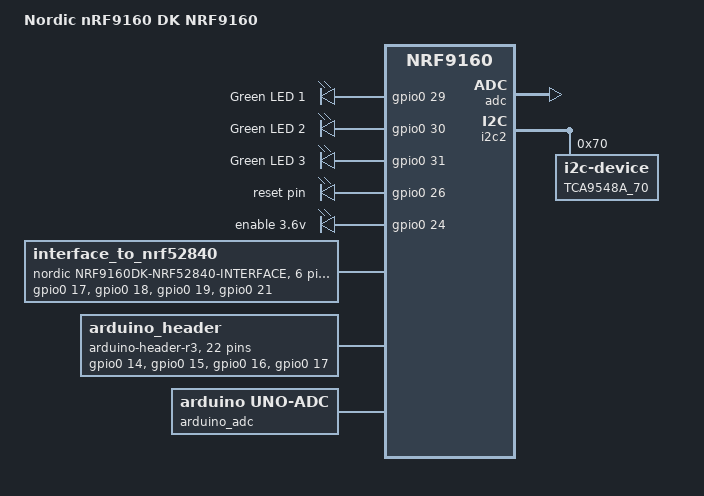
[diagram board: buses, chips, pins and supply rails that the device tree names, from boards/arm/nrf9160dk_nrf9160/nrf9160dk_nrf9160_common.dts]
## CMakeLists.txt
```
#
# Copyright (c) 2020 Nordic Semiconductor
#
# SPDX-License-Identifier: LicenseRef-Nordic-5-Clause
#

cmake_minimum_required(VERSION 3.20.0)

find_package(Zephyr REQUIRED HINTS $ENV{ZEPHYR_BASE})
project(aws_iot)

# NORDIC SDK APP START
target_sources(app PRIVATE src/main.c)
target_sources(app PRIVATE src/sensor.c)
# NORDIC SDK APP END

zephyr_include_directories(src)

# Make folder containing certificates global so that it can be located by
# the AWS IoT library.
zephyr_include_directories_ifdef(CONFIG_AWS_IOT_PROVISION_CERTIFICATES certs)
```

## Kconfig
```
#
# Copyright (c) 2020 Nordic Semiconductor ASA
#
# SPDX-License-Identifier: LicenseRef-Nordic-5-Clause
#

menu "AWS IoT Sample Settings"

config AWS_IOT_SAMPLE_APP_VERSION
	string "Application version"
	default "v1.0.0"

config AWS_IOT_SAMPLE_PUBLICATION_INTERVAL_SECONDS
	int "Interval in seconds that the sample will publish data"
	default 10

config AWS_IOT_SAMPLE_CONNECTION_RETRY_TIMEOUT_SECONDS
	int "Number of seconds between each AWS IoT connection retry"
	default 30

config AWS_IOT_SAMPLE_DEVICE_ID_USE_HW_ID
	bool "Use HW ID as device ID"
	select HW_ID_LIBRARY
	help
	  Use the devices's hardware ID as device ID when connecting to AWS IOT
config FIRMWARE_VERSION
	string "firmware version"
	default "1.0"
config HARDWARE_VERSION
	string "hardwware version"
	default ""
module = AWS_IOT_SAMPLE
module-str = AWS IoT sample
source "${ZEPHYR_BASE}/subsys/logging/Kconfig.template.log_config"

endmenu

menu "Zephyr Kernel"
source "Kconfig.zephyr"
endmenu
```

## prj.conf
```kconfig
#
# Copyright (c) 2020 Nordic Semiconductor ASA
#
# SPDX-License-Identifier: LicenseRef-Nordic-5-Clause
#
# General config
CONFIG_NCS_SAMPLES_DEFAULTS=y
CONFIG_REBOOT=y

# NEWLIB C
CONFIG_NEWLIB_LIBC=y
CONFIG_NEWLIB_LIBC_FLOAT_PRINTF=y

# Log
CONFIG_LOG=y
CONFIG_AWS_IOT_SAMPLE_LOG_LEVEL_INF=y

CONFIG_CBPRINTF_FP_SUPPORT=y

# Console
CONFIG_LOG=y
CONFIG_LOG_PRINTK=y
CONFIG_PRINTK=y
CONFIG_RTT_CONSOLE=y
CONFIG_USE_SEGGER_RTT=y
CONFIG_UART_CONSOLE=n

# Network
CONFIG_NETWORKING=y
CONFIG_NET_NATIVE=n

# LTE link control
CONFIG_LTE_LINK_CONTROL=y
CONFIG_LTE_NETWORK_MODE_LTE_M=y

CONFIG_LTE_NETWORK_MODE_NBIOT=n
#CONFIG_LTE_NETWORK_MODE_NBIOT_GPS=y

# Modem library
CONFIG_NRF_MODEM_LIB=y

# AT Host
CONFIG_UART_INTERRUPT_DRIVEN=n
CONFIG_AT_HOST_LIBRARY=n

# AWS IoT library
CONFIG_AWS_IOT=y
CONFIG_AWS_IOT_CLIENT_ID_STATIC="stephen_nrf9160_dk"
CONFIG_AWS_IOT_BROKER_HOST_NAME="a1jhkkp8wrh8gd-ats.iot.us-west-2.amazonaws.com"
CONFIG_AWS_IOT_SEC_TAG=6969
CONFIG_AWS_IOT_APP_SUBSCRIPTION_LIST_COUNT=2
CONFIG_AWS_IOT_TOPIC_UPDATE_DELTA_SUBSCRIBE=y
CONFIG_AWS_IOT_LAST_WILL=y
CONFIG_AWS_IOT_TOPIC_GET_ACCEPTED_SUBSCRIBE=y
CONFIG_AWS_IOT_TOPIC_GET_REJECTED_SUBSCRIBE=y

CONFIG_HARDWARE_VERSION="v2x8-i2c"
CONFIG_FIRMWARE_VERSION="1.0"

# MQTT - Maximum MQTT keepalive timeout specified by AWS IoT Core
CONFIG_MQTT_KEEPALIVE=1200

# Date Time library
CONFIG_DATE_TIME=y

# Modem information
CONFIG_MODEM_INFO=y

# Heap and stacks
CONFIG_HEAP_MEM_POOL_SIZE=8192
CONFIG_MAIN_STACK_SIZE=4096
CONFIG_SYSTEM_WORKQUEUE_STACK_SIZE=2048

# MCUBOOT
CONFIG_BOOTLOADER_MCUBOOT=y
CONFIG_MCUBOOT_IMG_MANAGER=y

# Image manager
CONFIG_IMG_MANAGER=y
CONFIG_STREAM_FLASH=y
CONFIG_FLASH_MAP=y
CONFIG_FLASH=y
CONFIG_IMG_ERASE_PROGRESSIVELY=y

# AWS FOTA
CONFIG_AWS_FOTA=y
CONFIG_FOTA_DOWNLOAD=y
CONFIG_DFU_TARGET=y

# CJSON
CONFIG_CJSON_LIB=y

# Download client (needed by AWS FOTA)
CONFIG_DOWNLOAD_CLIENT=y
CONFIG_DOWNLOAD_CLIENT_STACK_SIZE=4096

CONFIG_I2C=y
#CONFIG_SENSOR=y
```

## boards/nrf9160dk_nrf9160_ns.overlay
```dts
/*
 * Copyright (c) 2020, Nordic Semiconductor ASA
 *
 * SPDX-License-Identifier: Apache-2.0
 */

 arduino_i2c: &i2c2 {
	compatible = "nordic,nrf-twim";
	status = "okay";
	pinctrl-0 = <&i2c2_default>;
	pinctrl-1 = <&i2c2_sleep>;
	pinctrl-names = "default", "sleep";
	tca9548a_70: tca9548a@70 {
		compatible = "i2c-device";
		status = "okay";
		reg = <0x70>;
		label = "TCA9548A_70";
	};
};
```

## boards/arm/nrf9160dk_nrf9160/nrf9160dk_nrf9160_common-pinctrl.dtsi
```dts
/*
 * Copyright (c) 2022 Nordic Semiconductor
 * SPDX-License-Identifier: Apache-2.0
 */

&pinctrl {
	i2c2_default: i2c2_default {
		group1 {
			psels = <NRF_PSEL(TWIM_SDA, 0, 1)>,
				<NRF_PSEL(TWIM_SCL, 0, 2)>;
		};
	};

	i2c2_sleep: i2c2_sleep {
		group1 {
			psels = <NRF_PSEL(TWIM_SDA, 0, 1)>,
				<NRF_PSEL(TWIM_SCL, 0, 2)>;
			low-power-enable;
		};
	};

};
```

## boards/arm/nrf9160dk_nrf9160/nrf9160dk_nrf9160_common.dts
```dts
/*
 * Copyright (c) 2018-2020 Nordic Semiconductor ASA
 *
 * SPDX-License-Identifier: Apache-2.0
 */
#include "nrf9160dk_nrf9160_common-pinctrl.dtsi"

/ {
	model = "Nordic nRF9160 DK NRF9160";
	compatible = "nordic,nrf9160-dk-nrf9160";

	chosen {
		zephyr,console = &uart0;
		zephyr,shell-uart = &uart0;
		zephyr,uart-mcumgr = &uart0;
	};

	leds {
		compatible = "gpio-leds";
		led0: led_0 {
			gpios = <&gpio0 29 0>;
			label = "Green LED 1";
		};
		led1: led_1 {
			gpios = <&gpio0 30 0>;
			label = "Green LED 2";
		};
		led2: led_2 {
			gpios = <&gpio0 31 0>;
			label = "Green LED 3";
		};
		rst: rst_pin {
			gpios = <&gpio0 26 0>;
			label = "reset pin";
		};
		enable3v6: enable_3v6_pin {
			gpios = <&gpio0 24 0>;
			label = "enable 3.6v";
		};
	};


	interface_to_nrf52840: gpio-interface {
		compatible = "nordic,nrf9160dk-nrf52840-interface";
		#gpio-cells = <2>;
		gpio-map-mask = <0xf 0>;
		gpio-map-pass-thru = <0 0xffffffff>;
		gpio-map = <0 0 &gpio0 17 0>,
			   <1 0 &gpio0 18 0>,
			   <2 0 &gpio0 19 0>,
			   <3 0 &gpio0 21 0>,
			   <4 0 &gpio0 22 0>,
			   <5 0 &gpio0 23 0>;
			   /* 6: COEX0 */
			   /* 7: COEX1 */
			   /* 8: COEX2 */
	};

	nrf52840_reset: gpio-reset {
		compatible = "nordic,nrf9160dk-nrf52840-reset";
		status = "disabled";
		/*
		 * This line is specified as active high for compatibility
		 * with the previously used Kconfig-based configuration.
		 */
		gpios = <&interface_to_nrf52840 5 GPIO_ACTIVE_HIGH>;
	};

	arduino_header: connector {
		compatible = "arduino-header-r3";
		#gpio-cells = <2>;
		gpio-map-mask = <0xffffffff 0xffffffc0>;
		gpio-map-pass-thru = <0 0x3f>;
		gpio-map = <0 0 &gpio0 14 0>,	/* A0 */
			   <1 0 &gpio0 15 0>,	/* A1 */
			   <2 0 &gpio0 16 0>,	/* A2 */
			   <3 0 &gpio0 17 0>,	/* A3 */
			   <4 0 &gpio0 18 0>,	/* A4 */
			   <5 0 &gpio0 19 0>,	/* A5 */
			   <6 0 &gpio0 0 0>,	/* D0 */
			   <7 0 &gpio0 1 0>,	/* D1 */
			   <8 0 &gpio0 2 0>,	/* D2 */
			   <9 0 &gpio0 3 0>,	/* D3 */
			   <10 0 &gpio0 4 0>,	/* D4 */
			   <11 0 &gpio0 5 0>,	/* D5 */
			   <12 0 &gpio0 6 0>,	/* D6 */
			   <13 0 &gpio0 7 0>,	/* D7 */
			   <14 0 &gpio0 8 0>,	/* D8 */
			   <15 0 &gpio0 9 0>,	/* D9 */
			   <16 0 &gpio0 10 0>,	/* D10 */
			   <17 0 &gpio0 11 0>,	/* D11 */
			   <18 0 &gpio0 12 0>,	/* D12 */
			   <19 0 &gpio0 13 0>,	/* D13 */
			   <20 0 &gpio0 30 0>,	/* D14 */
			   <21 0 &gpio0 31 0>;	/* D15 */
	};

	arduino_adc: analog-connector {
		compatible = "arduino,uno-adc";
		#io-channel-cells = <1>;
		io-channel-map = <0 &adc 1>,	/* A0 = P0.14 = AIN1 */
				 <1 &adc 2>,	/* A1 = P0.15 = AIN2 */
				 <2 &adc 3>,	/* A2 = P0.16 = AIN3 */
				 <3 &adc 4>,	/* A3 = P0.17 = AIN4 */
				 <4 &adc 5>,	/* A4 = P0.18 = AIN5 */
				 <5 &adc 6>;	/* A5 = P0.19 = AIN6 */
	};

	/* These aliases are provided for compatibility with samples */
	aliases {
		led0 = &led0;
		led1 = &led1;
		led2 = &led2;
		rstpin = &rst;
		enable3v6 = &enable3v6;
		bootloader-led0 = &led0;
		mcuboot-led0 = &led0;
		watchdog0 = &wdt0;
	};
};

&adc {
	status = "okay";
};

&gpiote {
	status = "okay";
};

&gpio0 {
	status = "okay";
};


arduino_i2c: &i2c2 {
	compatible = "nordic,nrf-twim";
	status = "okay";
	pinctrl-0 = <&i2c2_default>;
	pinctrl-1 = <&i2c2_sleep>;
	pinctrl-names = "default", "sleep";
	tca9548a_70: tca9548a@70 {
		compatible = "i2c-device";
		status = "okay";
		reg = <0x70>;
		label = "TCA9548A_70";
	};
};

&flash0 {

	partitions {
		compatible = "fixed-partitions";
		#address-cells = <1>;
		#size-cells = <1>;

		boot_partition: partition@0 {
			label = "mcuboot";
			reg = <0x00000000 0x10000>;
		};
		slot0_partition: partition@10000 {
			label = "image-0";
		};
		slot0_ns_partition: partition@50000 {
			label = "image-0-nonsecure";
		};
		slot1_partition: partition@80000 {
			label = "image-1";
		};
		slot1_ns_partition: partition@c0000 {
			label = "image-1-nonsecure";
		};
		/* 0xf0000 to 0xf7fff reserved for TF-M partitions */
		storage_partition: partition@f8000 {
			label = "storage";
			reg = <0x000f8000 0x00008000>;
		};
	};
};

/ {

	reserved-memory {
		#address-cells = <1>;
		#size-cells = <1>;
		ranges;

		sram0_s: image_s@20000000 {
			/* Secure image memory */
		};

		sram0_modem: image_modem@20016000 {
			/* Modem (shared) memory */
		};

		sram0_ns: image_ns@20020000 {
			/* Non-Secure image memory */
		};
	};
};

/* Include partition configuration file */
#include "nrf9160dk_nrf9160_partition_conf.dts"
```

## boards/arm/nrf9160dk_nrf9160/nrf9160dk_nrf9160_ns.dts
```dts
/*
 * Copyright (c) 2018-2020 Nordic Semiconductor ASA
 *
 * SPDX-License-Identifier: Apache-2.0
 */

/dts-v1/;
#include <nordic/nrf9160ns_sica.dtsi>
#include "nrf9160dk_nrf9160_common.dts"

/ {
	chosen {
		zephyr,flash = &flash0;
		zephyr,sram = &sram0_ns;
		zephyr,code-partition = &slot0_ns_partition;
	};
};

/* Disable UART1, because it is used by default in TF-M */
&uart1 {
	status = "disabled";
};
```

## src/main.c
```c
/*
 * Copyright (c) 2020 Nordic Semiconductor ASA
 *
 * SPDX-License-Identifier: LicenseRef-Nordic-5-Clause
 */

#include <zephyr/kernel.h>
#include <stdio.h>
#include <stdlib.h>
#if defined(CONFIG_NRF_MODEM_LIB)
#include <modem/lte_lc.h>
#include <modem/nrf_modem_lib.h>
#include <modem/modem_info.h>
#include <nrf_modem.h>
#endif
#include <net/aws_iot.h>
#include <zephyr/sys/reboot.h>
#include <date_time.h>
#include <zephyr/dfu/mcuboot.h>
#include <cJSON.h>
#include <cJSON_os.h>
#include <zephyr/logging/log.h>
#include <zephyr/drivers/gpio.h>

#if defined(CONFIG_AWS_IOT_SAMPLE_DEVICE_ID_USE_HW_ID)
#include <hw_id.h>
#endif

#include "sensor.h"

#define I2C_RST			DT_ALIAS(rstpin)
#define ENABLE_3V6 		DT_ALIAS(enable3v6)

#define SENSOR_SAMPLE_INTERVAL_MS		3000
LOG_MODULE_REGISTER(aws_iot_sample, CONFIG_AWS_IOT_SAMPLE_LOG_LEVEL);

BUILD_ASSERT(!IS_ENABLED(CONFIG_LTE_AUTO_INIT_AND_CONNECT),
	     "This sample does not support LTE auto-init and connect");

#define APP_TOPICS_COUNT CONFIG_AWS_IOT_APP_SUBSCRIPTION_LIST_COUNT
#define SEND_TOPIC	"cagewatch/v1/ingestion"

static struct k_work_delayable publish_work;
static struct k_work_delayable connect_work;
static struct k_work shadow_update_version_work;

static bool cloud_connected;

static K_SEM_DEFINE(lte_connected, 0, 1);
static K_SEM_DEFINE(date_time_obtained, 0, 1);

static const struct i2c_dt_spec	tca9548a = I2C_DT_SPEC_GET( DT_NODELABEL( tca9548a_70 ) );
static const struct gpio_dt_spec i2c_rst_dt = GPIO_DT_SPEC_GET(I2C_RST, gpios);
static const struct gpio_dt_spec enable_3v6_dt = GPIO_DT_SPEC_GET(ENABLE_3V6, gpios);

static float lux[8] = {0.0};
static int range[8] = {0};
static uint8_t channel_mask = 0x00;

void sensors_init(void)
{
	uint8_t ch, ret;

	if (!gpio_is_ready_dt(&i2c_rst_dt)) {
		return 0;
	}

	ret = gpio_pin_configure_dt(&i2c_rst_dt, GPIO_OUTPUT_HIGH);
	if (ret < 0) {
		return 0;
	}

	ret = gpio_pin_configure_dt(&enable_3v6_dt, GPIO_OUTPUT_HIGH);
	if (ret < 0) {
		return 0;
	}


	check_i2c_device(&tca9548a);

	channel_mask = 0x00;

	for (ch=0; ch<8; ch++){
		if(tca9548a_set_channel(&tca9548a, ch) == 0){
			LOG_INF("Channel %d is set\n", ch);
			
			if (vl6180_read8(&tca9548a, VL6180X_REG_IDENTIFICATION_MODEL_ID) != 0xB4){
				LOG_ERR("Vl6180 sensor is failed in Channel %d\n", ch);
				range[ch] = -1;
			}
			else{
				if(vl6180_read8(&tca9548a, VL6180X_REG_SYSTEM_FRESH_OUT_OF_RESET) & 0x01){
					loadSettings(&tca9548a);
		 			vl6180_write8( &tca9548a, VL6180X_REG_SYSTEM_FRESH_OUT_OF_RESET, 0x00);
				}

        		channel_mask |= (1 << ch);
				LOG_INF("Vl6180 sensor in Channel %d was initiated successfully\n", ch);
			}

		}
		else{
			LOG_ERR("Channel %d is failed\n", ch);
			range[ch] = -1;
		}
	}
}

void check_sensors(void)
{
	uint8_t ch;
	uint8_t pre_channel_mask;

	check_i2c_device(&tca9548a);

	pre_channel_mask = channel_mask;

	channel_mask = 0x00;

	for (ch=0; ch<8; ch++){
		if(tca9548a_set_channel(&tca9548a, ch) == 0){
			LOG_INF("Channel %d is set\n", ch);
			
			if (vl6180_read8(&tca9548a, VL6180X_REG_IDENTIFICATION_MODEL_ID) != 0xB4){
				LOG_ERR("Vl6180 sensor is failed in Channel %d\n", ch);
				range[ch] = -1;
			}
			else{
				if(((pre_channel_mask >> ch) & 0x01) == 0x00){
					if(vl6180_read8(&tca9548a, VL6180X_REG_SYSTEM_FRESH_OUT_OF_RESET) & 0x01){
						loadSettings(&tca9548a);
		 				vl6180_write8( &tca9548a, VL6180X_REG_SYSTEM_FRESH_OUT_OF_RESET, 0x00);
					}
				}
        		channel_mask |= (1 << ch);
				LOG_INF("Vl6180 sensor in Channel %d was initiated successfully\n", ch);
			}

		}
		else{
			LOG_ERR("Channel %d is failed\n", ch);
			range[ch] = -1;
		}
	}
}
static void sensor_measure_fn(void)
{
	uint8_t ch;

	if(channel_mask > 0){
		for (ch=0; ch<8; ch++){
			if(channel_mask & (1 << ch)){
    	    	tca9548a_set_channel(&tca9548a, ch);
				lux[ch] = vl6180_readLux(&tca9548a, VL6180X_ALS_GAIN_5);
				range[ch] = vl6180_readRange(&tca9548a);
				LOG_INF("Data in Channel %d: [lux:] %f, [range:] %d\n", ch, lux[ch], range[ch]);
			}
		}
	}
	else {
		LOG_ERR("Sensor channels are not finded");
	}
}

static int json_add_obj(cJSON *parent, const char *str, cJSON *item)
{
	cJSON_AddItemToObject(parent, str, item);

	return 0;
}

static int json_add_str(cJSON *parent, const char *str, const char *item)
{
	cJSON *json_str;

	json_str = cJSON_CreateString(item);
	if (json_str == NULL) {
		return -ENOMEM;
	}

	return json_add_obj(parent, str, json_str);
}

static int json_add_number(cJSON *parent, const char *str, double item)
{
	cJSON *json_num;

	json_num = cJSON_CreateNumber(item);
	if (json_num == NULL) {
		return -ENOMEM;
	}

	return json_add_obj(parent, str, json_num);
}
/*
	Send the data to the AWS IoT Backend
*/
static int publish_func(bool version_number_include)
{
	int err;
	char *message;
	int64_t message_ts = 0;
	int16_t bat_voltage = 0;
	char imei[16]; 
	int16_t rssi = 0;
	uint8_t ch = 0;

	err = date_time_now(&message_ts);
	if (err) {
		LOG_ERR("date_time_now, error: %d", err);
		return err;
	}

	check_sensors();

	sensor_measure_fn();

#if defined(CONFIG_NRF_MODEM_LIB)
	/* Request battery voltage data from the modem. */
	err = modem_info_short_get(MODEM_INFO_BATTERY, &bat_voltage);
	if (err != sizeof(bat_voltage)) {
		LOG_ERR("modem_info_short_get for battery voltage, error: %d", err);
		return err;
	}
	err = modem_info_string_get(MODEM_INFO_IMEI, imei, 16);
	if (err != (sizeof(imei) - 1)) {
		LOG_ERR("modem_info_string_get for IMEI, error: %d", err);
		return err;
	}
	err = modem_info_short_get(MODEM_INFO_RSRP, &rssi);
	if (err != sizeof(rssi)) {
		LOG_ERR("modem_info_short_get for RSSI, error: %d", err);
		return err;
	}

	rssi = (-140) + rssi; 
#endif

	cJSON *root_obj = cJSON_CreateObject();
	cJSON *data_obj = cJSON_CreateObject();
	

	if (root_obj == NULL || data_obj == NULL)
	{
		cJSON_Delete(data_obj);
		cJSON_Delete(root_obj);
		err = -ENOMEM;
		return err;
	}

	err = 0;

	err += json_add_str(root_obj, "imei", imei);
	err += json_add_str(root_obj, "firmware_version", CONFIG_FIRMWARE_VERSION);
	err += json_add_str(root_obj, "hardware_version", CONFIG_HARDWARE_VERSION);
	err += json_add_number(root_obj, "battery_voltage", bat_voltage);
	err += json_add_number(root_obj, "cellular_rssi", rssi);


	err += json_add_number(data_obj, "ch0", range[0]);	
	err += json_add_number(data_obj, "ch1", range[1]);	
	err += json_add_number(data_obj, "ch2", range[2]);	
	err += json_add_number(data_obj, "ch3", range[3]);	
	err += json_add_number(data_obj, "ch4", range[4]);	
	err += json_add_number(data_obj, "ch5", range[5]);	
	err += json_add_number(data_obj, "ch6", range[6]);	
	err += json_add_number(data_obj, "ch7", range[7]);	
	

	err += json_add_obj(root_obj, "data", data_obj);
	

	if (err) {
		LOG_ERR("json_add, error: %d", err);
		goto cleanup;
	}

	message = cJSON_Print(root_obj);
	if (message == NULL) {
		LOG_ERR("cJSON_Print, error: returned NULL");
		err = -ENOMEM;
		goto cleanup;
	}

	struct aws_iot_data tx_data = {
		.qos = MQTT_QOS_0_AT_MOST_ONCE,
		.topic.type = 0,
		.topic.str = SEND_TOPIC,
		.topic.len = strlen(SEND_TOPIC),
		.ptr = message,
		.len = strlen(message)
	};

	LOG_INF("Publishing: %s to AWS IoT broker", message);

	err = aws_iot_send(&tx_data);
	if (err) {
		LOG_ERR("aws_iot_send, error: %d", err);
	}

	cJSON_FreeString(message);

cleanup:

	cJSON_Delete(root_obj);

	return err;
}

static void connect_work_fn(struct k_work *work)
{
	int err;

	if (cloud_connected) {
		return;
	}

	err = aws_iot_connect(NULL);
	if (err) {
		LOG_ERR("aws_iot_connect, error: %d", err);
	}

	LOG_INF("Next connection retry in %d seconds",
		CONFIG_AWS_IOT_SAMPLE_CONNECTION_RETRY_TIMEOUT_SECONDS);

	k_work_schedule(&connect_work,
			K_SECONDS(CONFIG_AWS_IOT_SAMPLE_CONNECTION_RETRY_TIMEOUT_SECONDS));
}

static void publish_work_fn(struct k_work *work)
{
	int err;

	if (!cloud_connected) {
		return;
	}

	err = publish_func(false);
	if (err) {
		LOG_ERR("shadow_update, error: %d", err);
	}

	LOG_INF("Next data publication in %d seconds",
		CONFIG_AWS_IOT_SAMPLE_PUBLICATION_INTERVAL_SECONDS);

	k_work_schedule(&publish_work,
			K_SECONDS(CONFIG_AWS_IOT_SAMPLE_PUBLICATION_INTERVAL_SECONDS));
}

static void shadow_update_version_work_fn(struct k_work *work)
{
	int err;

	err = publish_func(true);
	if (err) {
		LOG_ERR("shadow_update, error: %d", err);
	}
}

static void print_received_data(const char *buf, const char *topic,
				size_t topic_len)
{
	char *str = NULL;
	cJSON *root_obj = NULL;

	root_obj = cJSON_Parse(buf);
	if (root_obj == NULL) {
		LOG_ERR("cJSON Parse failure");
		return;
	}

	str = cJSON_Print(root_obj);
	if (str == NULL) {
		LOG_ERR("Failed to print JSON object");
		goto clean_exit;
	}

	LOG_INF("Data received from AWS IoT console: Topic: %.*s Message: %s",
		topic_len, topic, str);

	cJSON_FreeString(str);

clean_exit:
	cJSON_Delete(root_obj);
}

void aws_iot_event_handler(const struct aws_iot_evt *const evt)
{
	switch (evt->type) {
	case AWS_IOT_EVT_CONNECTING:
		LOG_INF("AWS_IOT_EVT_CONNECTING");
		break;
	case AWS_IOT_EVT_CONNECTED:
		LOG_INF("AWS_IOT_EVT_CONNECTED");

		cloud_connected = true;
		/* This may fail if the work item is already being processed,
		 * but in such case, the next time the work handler is executed,
		 * it will exit after checking the above flag and the work will
		 * not be scheduled again.
		 */
		(void)k_work_cancel_delayable(&connect_work);

		if (evt->data.persistent_session) {
			LOG_INF("Persistent session enabled");
		}

#if defined(CONFIG_NRF_MODEM_LIB)
		/** Successfully connected to AWS IoT broker, mark image as
		 *  working to avoid reverting to the former image upon reboot.
		 */
		boot_write_img_confirmed();
#endif

		/** Send version number to AWS IoT broker to verify that the
		 *  FOTA update worked.
		 */
		k_work_submit(&shadow_update_version_work);

		/** Start sequential shadow data updates.
		 */
		k_work_schedule(&publish_work,
				K_SECONDS(CONFIG_AWS_IOT_SAMPLE_PUBLICATION_INTERVAL_SECONDS));

#if defined(CONFIG_NRF_MODEM_LIB)
		int err = lte_lc_psm_req(true);
		if (err) {
			LOG_ERR("Requesting PSM failed, error: %d", err);
		}
#endif
		break;
	case AWS_IOT_EVT_READY:
		LOG_INF("AWS_IOT_EVT_READY");
		break;
	case AWS_IOT_EVT_DISCONNECTED:
		LOG_INF("AWS_IOT_EVT_DISCONNECTED");
		cloud_connected = false;
		/* This may fail if the work item is already being processed,
		 * but in such case, the next time the work handler is executed,
		 * it will exit after checking the above flag and the work will
		 * not be scheduled again.
		 */
		(void)k_work_cancel_delayable(&publish_work);
		k_work_schedule(&connect_work, K_NO_WAIT);
		break;
	case AWS_IOT_EVT_DATA_RECEIVED:
		LOG_INF("AWS_IOT_EVT_DATA_RECEIVED");
		print_received_data(evt->data.msg.ptr, evt->data.msg.topic.str,
				    evt->data.msg.topic.len);
		break;
	case AWS_IOT_EVT_PUBACK:
		LOG_INF("AWS_IOT_EVT_PUBACK, message ID: %d", evt->data.message_id);
		break;
	case AWS_IOT_EVT_FOTA_START:
		LOG_INF("AWS_IOT_EVT_FOTA_START");
		break;
	case AWS_IOT_EVT_FOTA_ERASE_PENDING:
		LOG_INF("AWS_IOT_EVT_FOTA_ERASE_PENDING");
		LOG_INF("Disconnect LTE link or reboot");
#if defined(CONFIG_NRF_MODEM_LIB)
		err = lte_lc_offline();
		if (err) {
			LOG_ERR("Error disconnecting from LTE");
		}
#endif
		break;
	case AWS_IOT_EVT_FOTA_ERASE_DONE:
		LOG_INF("AWS_FOTA_EVT_ERASE_DONE");
		LOG_INF("Reconnecting the LTE link");
#if defined(CONFIG_NRF_MODEM_LIB)
		err = lte_lc_connect();
		if (err) {
			LOG_ERR("Error connecting to LTE");
		}
#endif
		break;
	case AWS_IOT_EVT_FOTA_DONE:
		LOG_INF("AWS_IOT_EVT_FOTA_DONE");
		LOG_INF("FOTA done, rebooting device");
		aws_iot_disconnect();
		sys_reboot(0);
		break;
	case AWS_IOT_EVT_FOTA_DL_PROGRESS:
		LOG_INF("AWS_IOT_EVT_FOTA_DL_PROGRESS, (%d%%)", evt->data.fota_progress);
	case AWS_IOT_EVT_ERROR:
		LOG_INF("AWS_IOT_EVT_ERROR, %d", evt->data.err);
		break;
	case AWS_IOT_EVT_FOTA_ERROR:
		LOG_INF("AWS_IOT_EVT_FOTA_ERROR");
		break;
	default:
		LOG_WRN("Unknown AWS IoT event type: %d", evt->type);
		break;
	}
}

static void work_init(void)
{
	k_work_init_delayable(&publish_work, publish_work_fn);
	k_work_init_delayable(&connect_work, connect_work_fn);
	k_work_init(&shadow_update_version_work, shadow_update_version_work_fn);
}

#if defined(CONFIG_NRF_MODEM_LIB)
static void lte_handler(const struct lte_lc_evt *const evt)
{
	switch (evt->type) {
	case LTE_LC_EVT_NW_REG_STATUS:
		if ((evt->nw_reg_status != LTE_LC_NW_REG_REGISTERED_HOME) &&
		     (evt->nw_reg_status != LTE_LC_NW_REG_REGISTERED_ROAMING)) {
			break;
		}

		LOG_INF("Network registration status: %s",
			evt->nw_reg_status == LTE_LC_NW_REG_REGISTERED_HOME ?
			"Connected - home network" : "Connected - roaming");

		k_sem_give(&lte_connected);
		break;
	case LTE_LC_EVT_PSM_UPDATE:
		LOG_INF("PSM parameter update: TAU: %d, Active time: %d",
			evt->psm_cfg.tau, evt->psm_cfg.active_time);
		break;
	case LTE_LC_EVT_EDRX_UPDATE: {
		char log_buf[60];
		ssize_t len;

		len = snprintf(log_buf, sizeof(log_buf),
			       "eDRX parameter update: eDRX: %f, PTW: %f",
			       evt->edrx_cfg.edrx, evt->edrx_cfg.ptw);
		if (len > 0) {
			LOG_INF("%s", log_buf);
		}
		break;
	}
	case LTE_LC_EVT_RRC_UPDATE:
		LOG_INF("RRC mode: %s",
			evt->rrc_mode == LTE_LC_RRC_MODE_CONNECTED ?
			"Connected" : "Idle");
		break;
	case LTE_LC_EVT_CELL_UPDATE:
		LOG_INF("LTE cell changed: Cell ID: %d, Tracking area: %d",
			evt->cell.id, evt->cell.tac);
		break;
	default:
		break;
	}
}

static void nrf_modem_lib_dfu_handler(int err)
{
	switch (err) {
	case NRF_MODEM_DFU_RESULT_OK:
		LOG_INF("Modem update suceeded, reboot");
		sys_reboot(SYS_REBOOT_COLD);
		break;
	case NRF_MODEM_DFU_RESULT_UUID_ERROR:
	case NRF_MODEM_DFU_RESULT_AUTH_ERROR:
		LOG_INF("Modem update failed, error: %d", err);
		LOG_INF("Modem will use old firmware");
		sys_reboot(SYS_REBOOT_COLD);
		break;
	case NRF_MODEM_DFU_RESULT_HARDWARE_ERROR:
	case NRF_MODEM_DFU_RESULT_INTERNAL_ERROR:
		LOG_INF("Modem update malfunction, error: %d, reboot", err);
		sys_reboot(SYS_REBOOT_COLD);
		break;
	case NRF_MODEM_DFU_RESULT_VOLTAGE_LOW:
		LOG_INF("Modem update cancelled due to low power, error: %d", err);
		LOG_INF("Please reboot once you have sufficient power for the DFU");
		break;
	default:
		break;
	}
}
#endif

static int app_topics_subscribe(void)
{
	int err;
	static char custom_topic[75] = "my-custom-topic/example";
	static char custom_topic_2[75] = "my-custom-topic/example_2";

	const struct aws_iot_topic_data topics_list[APP_TOPICS_COUNT] = {
		[0].str = custom_topic,
		[0].len = strlen(custom_topic),
		[1].str = custom_topic_2,
		[1].len = strlen(custom_topic_2)
	};

	err = aws_iot_subscription_topics_add(topics_list, ARRAY_SIZE(topics_list));
	if (err) {
		LOG_ERR("aws_iot_subscription_topics_add, error: %d", err);
	}

	return err;
}

static void date_time_event_handler(const struct date_time_evt *evt)
{
	switch (evt->type) {
	case DATE_TIME_OBTAINED_MODEM:
		/* Fall through */
	case DATE_TIME_OBTAINED_NTP:
		/* Fall through */
	case DATE_TIME_OBTAINED_EXT:
		LOG_INF("Date time obtained");
		k_sem_give(&date_time_obtained);

		/* De-register handler. At this point the sample will have
		 * date time to depend on indefinitely until a reboot occurs.
		 */
		date_time_register_handler(NULL);
		break;
	case DATE_TIME_NOT_OBTAINED:
		LOG_INF("DATE_TIME_NOT_OBTAINED");
		break;
	default:
		LOG_ERR("Unknown event: %d", evt->type);
		break;
	}
}

int main(void)
{
	int err;

	LOG_INF("The AWS IoT sample started, version: %s", CONFIG_AWS_IOT_SAMPLE_APP_VERSION);

	cJSON_Init();

#if defined(CONFIG_NRF_MODEM_LIB)
	err = nrf_modem_lib_init();
	if (err) {
		LOG_ERR("Modem library initialization failed, error: %d", err);
		return 0;
	}

	nrf_modem_lib_dfu_handler(err);
#endif

#if defined(CONFIG_AWS_IOT_SAMPLE_DEVICE_ID_USE_HW_ID)
	char device_id[HW_ID_LEN] = { 0 };

	err = hw_id_get(device_id, ARRAY_SIZE(device_id));
	if (err) {
		LOG_ERR("Failed to retrieve device ID, error: %d", err);
		return 0;
	}

	struct aws_iot_config config = {
	    .client_id = device_id,
	    .client_id_len = strlen(device_id)
	};

	LOG_INF("Device id: %s", device_id);

	err = aws_iot_init(&config, aws_iot_event_handler);
#else
	err = aws_iot_init(NULL, aws_iot_event_handler);
#endif
	if (err) {
		LOG_ERR("AWS IoT library could not be initialized, error: %d", err);
	}

	sensors_init();

	/** Subscribe to customizable non-shadow specific topics
	 *  to AWS IoT backend.
	 */
	err = app_topics_subscribe();
	if (err) {
		LOG_ERR("Adding application specific topics failed, error: %d", err);
	}

	work_init();
#if defined(CONFIG_NRF_MODEM_LIB)
	err = lte_lc_init_and_connect_async(lte_handler);
	if (err) {
		LOG_ERR("Modem could not be configured, error: %d", err);
		return 0;
	}

	err = modem_info_init();
	if (err) {
		LOG_ERR("Failed initializing modem info module, error: %d", err);
	}

	k_sem_take(&lte_connected, K_FOREVER);
#endif

	/* Trigger a date time update. The date_time API is used to timestamp data that is sent
	 * to AWS IoT.
	 */
	date_time_update_async(date_time_event_handler);

	/* Postpone connecting to AWS IoT until date time has been obtained. */
	k_sem_take(&date_time_obtained, K_FOREVER);
	k_work_schedule(&connect_work, K_NO_WAIT);
	return 0;
}
```

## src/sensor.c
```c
#include <zephyr/kernel.h>
#include <zephyr/device.h>
#include <zephyr/drivers/sensor.h>
#include <stdio.h>
#include <zephyr/devicetree.h>
#include <zephyr/sys/printk.h>
#include "sensor.h"

int check_i2c_device( const struct i2c_dt_spec* dev)
{
	if (i2c_is_ready_dt( dev )){
		printk("%02X I2C is ready\n", dev->addr);

		return 0;
	}
	else{
		printk("%02X I2C is failed\n", dev->addr);

		return -EFAULT;
	}
}

int tca9548a_set_channel(const struct i2c_dt_spec *spec, uint8_t channel)
{
	uint8_t tx_buf = (1 << channel);

	return i2c_write(spec->bus, &tx_buf, 1, spec->addr);
}

uint8_t vl6180_read8(const struct i2c_dt_spec* dev, uint16_t reg_addr)
{
	uint8_t buf[2];
	buf[0] = (reg_addr >> 8) & 0xff;
	buf[1] = (reg_addr & 0xff);
	i2c_write_read(dev->bus, VL6180X_DEFAULT_I2C_ADDR, buf, 2, buf, 1);

	return buf[0];
}

uint16_t vl6180_read16(const struct i2c_dt_spec* dev, uint16_t reg_addr)
{
	uint8_t buf[2];
	uint16_t ret;
	buf[0] = (reg_addr >> 8) & 0xff;
	buf[1] = (reg_addr & 0xff);
	i2c_write_read(dev->bus, VL6180X_DEFAULT_I2C_ADDR, buf, 2, buf, 2);

	ret = buf[0];
	ret = (ret << 8) + buf[1];
	return ret;
}

int vl6180_write8(const struct i2c_dt_spec* dev, uint16_t reg_addr, uint8_t dat)
{
	uint8_t buf[3];
	buf[0] = (reg_addr >> 8) & 0xff;
	buf[1] = reg_addr & 0xff;
	buf[2] = dat;
	return i2c_write(dev->bus, buf, 3, VL6180X_DEFAULT_I2C_ADDR );
}

int vl6180_write16(const struct i2c_dt_spec* dev, uint16_t reg_addr, uint16_t dat)
{
	uint8_t buf[4];
	buf[0] = (reg_addr >> 8) & 0xff;
	buf[1] = reg_addr & 0xff;
	buf[2] = (dat >> 8) & 0xff;
	buf[3] = dat & 0xff;

	return i2c_write(dev->bus, buf, 4, VL6180X_DEFAULT_I2C_ADDR );
}

int loadSettings(const struct i2c_dt_spec* dev)
{
	// load settings!

  // private settings from page 24 of app note
  vl6180_write8(dev, 0x0207, 0x01);
  vl6180_write8(dev, 0x0208, 0x01);
  vl6180_write8(dev, 0x0096, 0x00);
  vl6180_write8(dev, 0x0097, 0xfd);
  vl6180_write8(dev, 0x00e3, 0x00);
  vl6180_write8(dev, 0x00e4, 0x04);
  vl6180_write8(dev, 0x00e5, 0x02);
  vl6180_write8(dev, 0x00e6, 0x01);
  vl6180_write8(dev, 0x00e7, 0x03);
  vl6180_write8(dev, 0x00f5, 0x02);
  vl6180_write8(dev, 0x00d9, 0x05);
  vl6180_write8(dev, 0x00db, 0xce);
  vl6180_write8(dev, 0x00dc, 0x03);
  vl6180_write8(dev, 0x00dd, 0xf8);
  vl6180_write8(dev, 0x009f, 0x00);
  vl6180_write8(dev, 0x00a3, 0x3c);
  vl6180_write8(dev, 0x00b7, 0x00);
  vl6180_write8(dev, 0x00bb, 0x3c);
  vl6180_write8(dev, 0x00b2, 0x09);
  vl6180_write8(dev, 0x00ca, 0x09);
  vl6180_write8(dev, 0x0198, 0x01);
  vl6180_write8(dev, 0x01b0, 0x17);
  vl6180_write8(dev, 0x01ad, 0x00);
  vl6180_write8(dev, 0x00ff, 0x05);
  vl6180_write8(dev, 0x0100, 0x05);
  vl6180_write8(dev, 0x0199, 0x05);
  vl6180_write8(dev, 0x01a6, 0x1b);
  vl6180_write8(dev, 0x01ac, 0x3e);
  vl6180_write8(dev, 0x01a7, 0x1f);
  vl6180_write8(dev, 0x0030, 0x00);

  // Recommended : Public registers - See data sheet for more detail
  vl6180_write8(dev, 0x0011, 0x10); // Enables polling for 'New Sample ready'
                        // when measurement completes
  vl6180_write8(dev, 0x010a, 0x30); // Set the averaging sample period
                        // (compromise between lower noise and
                        // increased execution time)
  vl6180_write8(dev, 0x003f, 0x46); // Sets the light and dark gain (upper
                        // nibble). Dark gain should not be
                        // changed.
  vl6180_write8(dev, 0x0031, 0xFF); // sets the # of range measurements after
                        // which auto calibration of system is
                        // performed
  vl6180_write8(dev, 0x0041, 0x63); // Set ALS integration time to 100ms
  vl6180_write8(dev, 0x002e, 0x01); // perform a single temperature calibration
                        // of the ranging sensor

  // Optional: Public registers - See data sheet for more detail
  vl6180_write8(dev, SYSRANGE__INTERMEASUREMENT_PERIOD,
         0x09);         // Set default ranging inter-measurement
                        // period to 100ms
  vl6180_write8(dev, 0x003e, 0x31); // Set default ALS inter-measurement period
                        // to 500ms
  vl6180_write8(dev, 0x0014, 0x24); // Configures interrupt on 'New Sample
                        // Ready threshold event'
}

float vl6180_readLux(const struct i2c_dt_spec* dev, uint8_t gain)
{
  uint8_t reg;

  reg = vl6180_read8(dev, VL6180X_REG_SYSTEM_INTERRUPT_CONFIG);
  reg &= ~0x38;
  reg |= (0x4 << 3); // IRQ on ALS ready
  vl6180_write8(dev, VL6180X_REG_SYSTEM_INTERRUPT_CONFIG, reg);

  // 100 ms integration period
  vl6180_write8(dev, VL6180X_REG_SYSALS_INTEGRATION_PERIOD_HI, 0);
  vl6180_write8(dev, VL6180X_REG_SYSALS_INTEGRATION_PERIOD_LO, 100);

  // analog gain
  if (gain > VL6180X_ALS_GAIN_40) {
    gain = VL6180X_ALS_GAIN_40;
  }
  vl6180_write8(dev, VL6180X_REG_SYSALS_ANALOGUE_GAIN, 0x40 | gain);

  // start ALS
  vl6180_write8(dev, VL6180X_REG_SYSALS_START, 0x1);

  // Poll until "New Sample Ready threshold event" is set
  while (4 != ((vl6180_read8(dev, VL6180X_REG_RESULT_INTERRUPT_STATUS_GPIO) >> 3) & 0x7))
    ;

  // read lux!
  float lux = vl6180_read16(dev, VL6180X_REG_RESULT_ALS_VAL);

  // clear interrupt
  vl6180_write8(dev, VL6180X_REG_SYSTEM_INTERRUPT_CLEAR, 0x07);

  lux *= 0.32; // calibrated count/lux
  switch (gain) {
  case VL6180X_ALS_GAIN_1:
    break;
  case VL6180X_ALS_GAIN_1_25:
    lux /= 1.25;
    break;
  case VL6180X_ALS_GAIN_1_67:
    lux /= 1.67;
    break;
  case VL6180X_ALS_GAIN_2_5:
    lux /= 2.5;
    break;
  case VL6180X_ALS_GAIN_5:
    lux /= 5;
    break;
  case VL6180X_ALS_GAIN_10:
    lux /= 10;
    break;
  case VL6180X_ALS_GAIN_20:
    lux /= 20;
    break;
  case VL6180X_ALS_GAIN_40:
    lux /= 40;
    break;
  }
  lux *= 100;
  lux /= 100; // integration time in ms

  return lux;
}

uint8_t vl6180_readRange(const struct i2c_dt_spec* dev) 
{
  // wait for device to be ready for range measurement
  while (!(vl6180_read8(dev, VL6180X_REG_RESULT_RANGE_STATUS) & 0x01))
    ;

  // Start a range measurement
  vl6180_write8(dev, VL6180X_REG_SYSRANGE_START, 0x01);

  // Poll until bit 2 is set
  while (!(vl6180_read8(dev, VL6180X_REG_RESULT_INTERRUPT_STATUS_GPIO) & 0x04))
    ;

  // read range in mm
  uint8_t range = vl6180_read8(dev, VL6180X_REG_RESULT_RANGE_VAL);

  // clear interrupt
  vl6180_write8(dev, VL6180X_REG_SYSTEM_INTERRUPT_CLEAR, 0x07);

  return range;
}
```

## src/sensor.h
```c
#ifndef SENSOR_H_
#define SENSOR_H_

#include <zephyr/drivers/i2c.h>
#include "vl6180_registers.h"

int check_i2c_device( const struct i2c_dt_spec* dev);
int tca9548a_set_channel(const struct i2c_dt_spec *spec, uint8_t channel);
uint8_t vl6180_read8(const struct i2c_dt_spec* dev, uint16_t reg_addr);
uint16_t vl6180_read16(const struct i2c_dt_spec* dev, uint16_t reg_addr);
int vl6180_write8(const struct i2c_dt_spec* dev, uint16_t reg_addr, uint8_t dat);
int vl6180_write16(const struct i2c_dt_spec* dev, uint16_t reg_addr, uint16_t dat);
int loadSettings(const struct i2c_dt_spec* dev);
float vl6180_readLux(const struct i2c_dt_spec* dev, uint8_t gain);
uint8_t vl6180_readRange(const struct i2c_dt_spec* dev);
#endif
```
